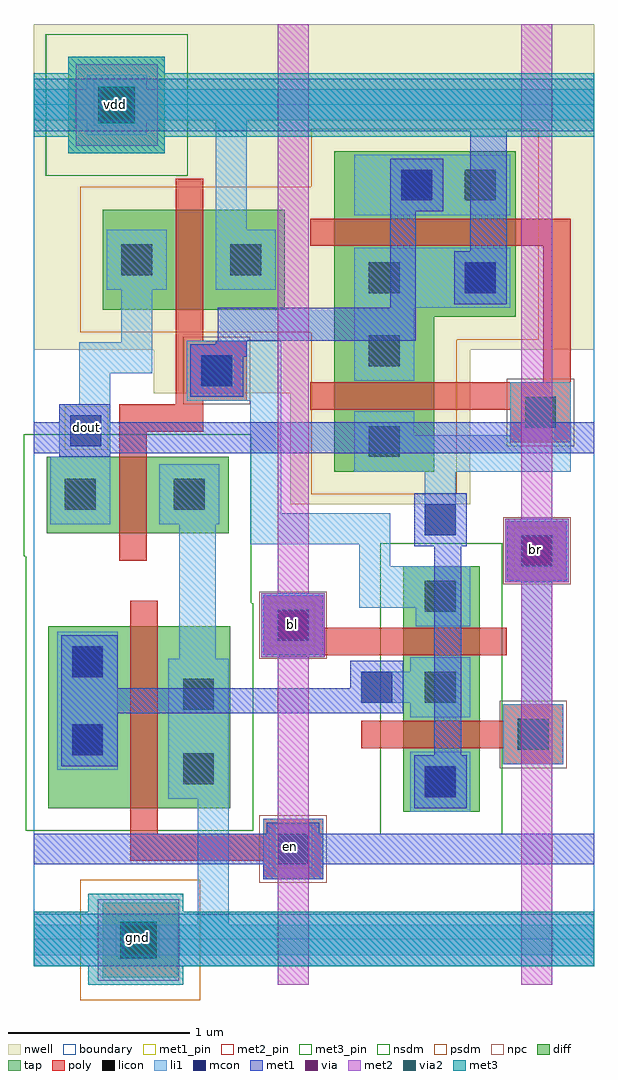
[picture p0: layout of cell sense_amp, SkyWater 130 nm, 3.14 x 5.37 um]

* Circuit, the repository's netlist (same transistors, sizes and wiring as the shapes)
* NGSPICE file created from sense_amp.ext - technology: sky130A

.subckt sense_amp bl br dout en vdd gnd
X0 vdd a_202_279# a_78_195# vdd sky130_fd_pr__pfet_01v8 ad=8.355e+11p pd=5.5e+06u as=3.7e+11p ps=2.74e+06u w=1e+06u l=150000u
X1 a_202_279# a_202_279# vdd vdd sky130_fd_pr__pfet_01v8 ad=1.87e+11p pd=1.78e+06u as=0p ps=0u w=550000u l=150000u
X2 gnd a_78_195# dout gnd sky130_fd_pr__nfet_01v8 ad=5.89e+11p pd=4.54e+06u as=1.68e+11p ps=1.64e+06u w=420000u l=150000u
X3 vdd a_78_195# dout vdd sky130_fd_pr__pfet_01v8 ad=0p pd=0u as=2.2e+11p ps=1.9e+06u w=550000u l=150000u
X4 a_134_48# en gnd gnd sky130_fd_pr__nfet_01v8 ad=6.012e+11p pd=4.46e+06u as=0p ps=0u w=1e+06u l=150000u
X5 a_202_279# br a_134_48# gnd sky130_fd_pr__nfet_01v8 ad=1.428e+11p pd=1.52e+06u as=0p ps=0u w=420000u l=150000u
X6 a_134_48# bl a_78_195# gnd sky130_fd_pr__nfet_01v8 ad=0p pd=0u as=1.47e+11p ps=1.54e+06u w=420000u l=150000u
.ends

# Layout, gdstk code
import gdstk
lib = gdstk.Library(unit=1e-6, precision=1e-09)
def R(c, l, rs):  # rectangles x0, y0, x1, y1
    for r in rs: c.add(gdstk.rectangle(r[:2], r[2:], *l))
nwell = (64, 20)
diff = (65, 20)
tap = (65, 44)
poly = (66, 20)
licon = (66, 44)
li1 = (67, 20)
mcon = (67, 44)
met1_pin = (68, 16)
met1 = (68, 20)
via = (68, 44)
met2_pin = (69, 16)
met2 = (69, 20)
via2 = (69, 44)
met3_pin = (70, 16)
met3 = (70, 20)
nsdm = (93, 44)
psdm = (94, 20)
npc = (95, 20)
boundary = (235, 4)

sense_amp = lib.new_cell('sense_amp')
R(sense_amp, nwell, [(1.41,2.39,2.4,3), (0.66,3,2.4,3.24), (0,3.24,3.08,5.03)])
R(sense_amp, diff, [(2.03,0.7,2.45,2.05), (0.08,0.72,1.08,1.72), (0.07,2.23,1.07,2.65), (1.65,2.57,2.2,3.42), (1.65,3.42,2.65,4.33), (0.38,3.46,1.38,4.01)])
R(sense_amp, tap, [(0.38,-0.21,0.79,0.2), (0.19,4.32,0.72,4.85)])
R(sense_amp, poly, [(1.26,0.33,1.59,0.43), (0.53,0.43,1.59,0.58), (0.53,0.58,0.68,1.86), (1.26,0.58,1.59,0.66), (2.58,0.96,2.91,1.05), (1.8,1.05,2.91,1.2), (2.58,1.2,2.91,1.29), (1.35,1.55,1.5,1.56), (1.26,1.56,2.6,1.71), (1.26,1.71,1.59,1.89), (2.6,1.97,2.93,2.3), (0.47,2.08,0.62,2.79), (2.62,2.73,2.95,2.91), (0.47,2.79,0.93,2.94), (1.52,2.91,2.95,3.06), (0.78,2.94,0.93,2.96), (0.78,2.96,1.17,3.29), (2.8,3.06,2.95,3.81), (0.78,3.29,0.93,4.18), (1.52,3.81,2.95,3.96)])
R(sense_amp, licon, [(0.5,-0.09,0.67,0.08), (1.34,0.41,1.51,0.58), (2.15,0.78,2.32,0.95), (0.82,0.85,0.99,1.02), (0.21,1.01,0.38,1.18), (2.66,1.04,2.83,1.21), (0.82,1.26,0.99,1.43), (2.15,1.3,2.32,1.47), (0.21,1.44,0.38,1.61), (1.34,1.64,1.51,1.81), (2.15,1.8,2.32,1.97), (2.68,2.05,2.85,2.22), (0.17,2.36,0.34,2.53), (0.77,2.36,0.94,2.53), (1.84,2.65,2.01,2.82), (2.7,2.81,2.87,2.98), (0.92,3.04,1.09,3.21), (1.84,3.15,2.01,3.32), (1.84,3.55,2.01,3.72), (2.37,3.55,2.54,3.72), (0.48,3.65,0.65,3.82), (1.08,3.65,1.25,3.82), (2.02,4.06,2.19,4.23), (2.37,4.06,2.54,4.23), (0.37,4.5,0.54,4.67)])
R(sense_amp, li1, [(0,-0.09,3.08,0.08), (0.9,0.08,1.07,0.77), (1.26,0.33,1.59,0.66), (2.07,0.7,2.4,1.03), (0.74,0.77,1.07,1.54), (0.13,0.93,0.46,1.69), (2.58,0.96,2.91,1.29), (2.07,1.22,2.4,1.3), (2.68,1.29,2.85,1.97), (1.8,1.3,2.4,1.47), (2.07,1.47,2.4,1.55), (0.8,1.54,1,2.28), (1.26,1.56,1.59,1.89), (2.1,1.72,2.4,1.82), (1.79,1.82,2.4,2.05), (2.6,1.97,2.93,2.3), (1.79,2.05,1.96,2.17), (1.19,2.17,1.96,2.34), (2.15,2.22,2.32,2.57), (0.09,2.28,0.42,2.65), (0.69,2.28,1.02,2.61), (1.19,2.34,1.36,2.96), (1.76,2.57,2.95,2.77), (0.14,2.65,0.42,2.94), (1.76,2.77,2.09,2.9), (2.62,2.77,2.95,3.06), (0.25,2.94,0.42,3.11), (0.84,2.96,1.36,3.29), (1.76,3.07,2.09,3.47), (0.25,3.11,0.65,3.28), (0.48,3.28,0.65,3.57), (1.76,3.47,2.62,3.8), (0.4,3.57,0.73,3.9), (1,3.57,1.33,3.9), (1,3.9,1.17,4.5), (1.76,3.98,2.62,4.31), (0.29,4.42,0.62,4.5), (0,4.5,3.08,4.67), (0.29,4.67,0.62,4.75)])
R(sense_amp, mcon, [(0.5,-0.09,0.67,0.08), (1.34,0.41,1.51,0.58), (2.15,0.78,2.32,0.95), (0.21,1.01,0.38,1.18), (1.8,1.3,1.97,1.47), (0.21,1.44,0.38,1.61), (1.34,1.64,1.51,1.81), (2.68,2.05,2.85,2.22), (2.15,2.22,2.32,2.39), (0.2,2.71,0.37,2.88), (0.92,3.04,1.09,3.21), (2.37,3.55,2.54,3.72), (2.02,4.06,2.19,4.23), (0.37,4.5,0.54,4.67)])
R(sense_amp, met1_pin, [(1.29,0.39,1.53,0.63), (0.17,2.69,0.41,2.93)])
R(sense_amp, met1, [(0,-0.15,3.08,0.14), (1.26,0.33,1.59,0.41), (0,0.41,3.08,0.58), (1.28,0.58,1.57,0.64), (2.09,0.72,2.38,1.01), (0.15,0.95,0.46,1.24), (2.2,1.01,2.35,2.16), (0.15,1.24,2.03,1.38), (0.15,1.38,0.46,1.67), (1.74,1.38,2.03,1.53), (1.25,1.55,1.6,1.9), (2.59,1.96,2.94,2.31), (2.09,2.16,2.38,2.45), (0.14,2.65,0.42,2.67), (0,2.67,3.08,2.84), (0.14,2.84,0.42,2.94), (0.86,2.98,1.15,3.2), (0.86,3.2,1.17,3.27), (1,3.27,1.17,3.29), (1.01,3.29,2.1,3.47), (1.96,3.47,2.1,4), (2.31,3.49,2.6,3.78), (2.4,3.78,2.6,4.44), (1.96,4,2.25,4.29), (0,4.44,3.08,4.73)])
R(sense_amp, via, [(0.5,-0.08,0.65,0.07), (1.35,1.65,1.5,1.8), (2.69,2.06,2.84,2.21), (0.38,4.51,0.53,4.66)])
R(sense_amp, met2_pin, [(1.3,1.61,1.54,1.85), (2.64,2.02,2.88,2.26)])
R(sense_amp, met2, [(1.34,-0.25,1.51,1.55), (2.68,-0.25,2.85,1.96), (0.35,-0.23,0.8,0.22), (1.25,1.55,1.6,1.9), (1.34,1.9,1.51,5.03), (2.59,1.96,2.94,2.31), (2.68,2.31,2.85,5.03), (0.23,4.36,0.68,4.81)])
R(sense_amp, via2, [(0.475,-0.105,0.675,0.095), (0.355,4.485,0.555,4.685)])
R(sense_amp, met3_pin, [(0.45,-0.11,0.69,0.13), (0.33,4.47,0.57,4.71)])
R(sense_amp, met3, [(0.3,-0.25,0.82,-0.15), (0,-0.15,3.08,0.15), (0.3,0.15,0.82,0.25), (0.19,4.32,0.72,4.41), (0,4.41,3.08,4.76), (0.19,4.76,0.72,4.85)])
R(sense_amp, nsdm, [(1.905,0.575,2.575,2.175), (-0.045,0.595,1.205,1.845), (-0.045,1.845,1.195,2.105), (-0.055,2.105,1.195,2.775), (0.065,4.195,0.845,4.975)])
R(sense_amp, psdm, [(0.255,-0.335,0.915,0.325), (1.525,2.445,2.325,3.295), (1.525,3.295,2.775,3.335), (0.255,3.335,2.775,4.135), (1.525,4.135,2.775,4.455)])
R(sense_amp, npc, [(1.24,0.31,1.61,0.68), (2.56,0.94,2.93,1.31), (1.24,1.54,1.61,1.91), (2.58,1.95,2.95,2.32), (2.6,2.71,2.97,3.08), (0.82,2.94,1.19,3.31)])
R(sense_amp, boundary, [(0,0,3.08,4.59)])
sense_amp.add(gdstk.Label('bl', (1.42,1.73), layer=69, texttype=16))
sense_amp.add(gdstk.Label('br', (2.76,2.14), layer=69, texttype=16))
sense_amp.add(gdstk.Label('dout', (0.29,2.81), layer=68, texttype=16))
sense_amp.add(gdstk.Label('en', (1.41,0.51), layer=68, texttype=16))
sense_amp.add(gdstk.Label('vdd', (0.45,4.59), layer=70, texttype=16))
sense_amp.add(gdstk.Label('gnd', (0.57,0.01), layer=70, texttype=16))

lib.write_gds('sense_amp.gds')
